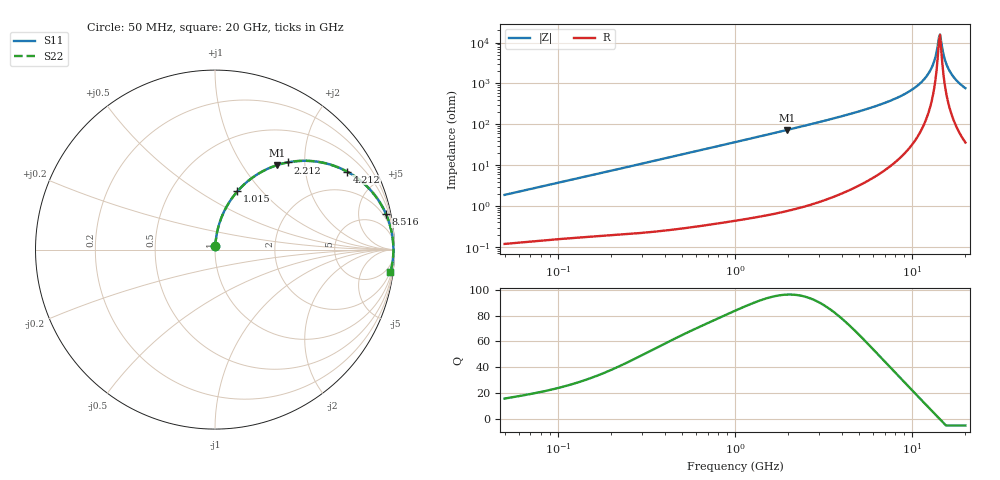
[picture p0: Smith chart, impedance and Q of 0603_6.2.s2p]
!Murata Part Number: LQW18AN6N2C00
!These Parameters are Measured in Series Mode Connection
!  o--[Z]--o
!Port1  Port2
!  o-------o
!Freq. Start=50[MHz] Stop=20[GHz], 401[Steps]
# Hz S RI R 50
!Freq.(Hz) S11(Real) S11(Imag) S21(Real) S21(Imag) S12(Real) S12(Imag) S22(Real) S22(Imag)
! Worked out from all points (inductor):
!   401 points, 50 MHz to 20 GHz, reference 50 ohm
!   read as one part in series: L = 5.97 nH near 51.52 MHz
!   highest Q = 96.2 at 1.962 GHz (marker M1), where L = 5.91 nH
!   self-resonance near 14.17 GHz
!   S11 on the Smith chart (normalised r, x): 50 MHz: 1.00, +0.04; 1.015 GHz: 1.01, +0.74; 2.212 GHz: 1.02, +1.65; 4.212 GHz: 1.04, +3.35; 8.516 GHz: 1.30, +9.56; 20 GHz: 2, -15
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5e7  0.00154 0.0188  0.9985 -0.0188  0.9985 -0.0188  0.00154 0.0188
1.364002e8  0.00425 0.0502  0.9957 -0.0502  0.9957 -0.0502  0.00425 0.0502
3.721004e8  0.0206 0.1335  0.9794 -0.1335  0.9794 -0.1335  0.0206 0.1335
1e9  0.1215 0.3208  0.8785 -0.3208  0.8785 -0.3208  0.1215 0.3208
1.015091e9  0.1247 0.3245  0.8753 -0.3245  0.8753 -0.3245  0.1247 0.3245
1.962148e9  0.3479 0.4711  0.6521 -0.4711  0.6521 -0.4711  0.3479 0.4711
2.211938e9  0.4058 0.4859  0.5942 -0.4859  0.5942 -0.4859  0.4058 0.4859
2.728004e9  0.5146 0.4944  0.4854 -0.4944  0.4854 -0.4944  0.5146 0.4944
4.212059e9  0.7349 0.4348  0.2651 -0.4348  0.2651 -0.4348  0.7349 0.4348
7.442007e9  0.9268 0.2485  0.0732 -0.2485  0.0732 -0.2485  0.9268 0.2485
8.516016e9  0.9525 0.1977  0.0475 -0.1977  0.0475 -0.1977  0.9525 0.1977
1.050288e10  0.9795 0.1181  0.0205 -0.1181  0.0205 -0.1181  0.9795 0.1181
1.201863e10  0.9893 0.0668  0.0107 -0.0668  0.0107 -0.0668  0.9893 0.0668
1.314879e10  0.9927 0.0327  0.00727 -0.0327  0.00727 -0.0327  0.9927 0.0327
1.354865e10  0.9934 0.0214  0.00664 -0.0214  0.00664 -0.0214  0.9934 0.0214
1.396067e10  0.9937 0.01  0.00627 -0.01  0.00627 -0.01  0.9937 0.01
1.438523e10  0.9938 -0.00132  0.00616 0.00132  0.00616 0.00132  0.9938 -0.00132
1.460232e10  0.9938 -0.00699  0.0062 0.00699  0.0062 0.00699  0.9938 -0.00699
1.550395e10  0.993 -0.0297  0.00702 0.0297  0.00702 0.0297  0.993 -0.0297
1.621653e10  0.9917 -0.0467  0.00832 0.0467  0.00832 0.0467  0.9917 -0.0467
1.774144e10  0.9873 -0.0809  0.0127 0.0809  0.0127 0.0809  0.9873 -0.0809
2e10  0.9776 -0.1265  0.0224 0.1265  0.0224 0.1265  0.9776 -0.1265
